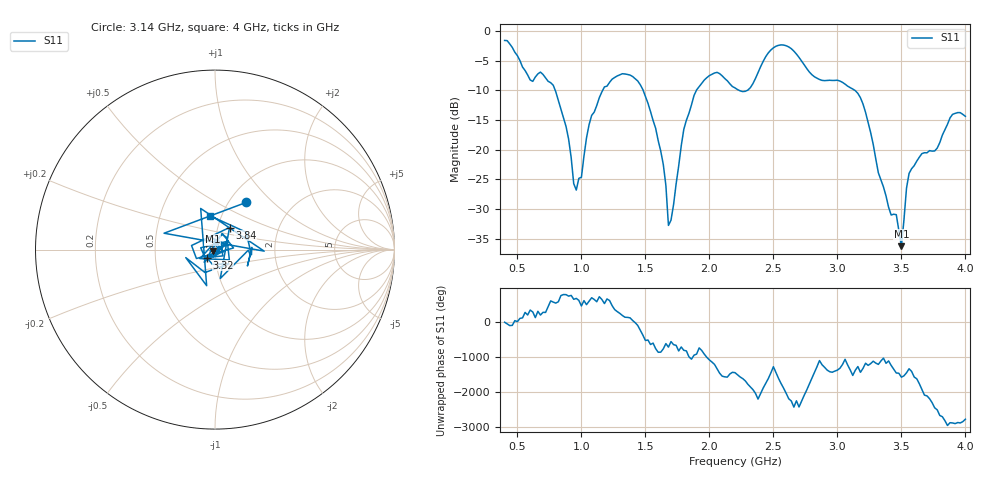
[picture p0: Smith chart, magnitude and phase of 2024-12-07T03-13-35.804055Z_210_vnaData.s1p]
!Created with skrf (http://scikit-rf.org).
# Hz S RI R 50.0
!freq ReS11 ImS11
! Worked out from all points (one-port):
!   181 points, 400 MHz to 4 GHz, reference 50 ohm
!   lowest |S11| = -36.2 dB at 3.5 GHz (marker M1), VSWR 1.03, Z = 48.8 - j0.942 ohm
!   |S11| at or under -10 dB: 795.5 MHz to 1.166 GHz (370.6 MHz wide, 37.8 % of centre); 1.482 GHz to 1.898 GHz (415.9 MHz wide, 24.6 % of centre); 3.136 GHz to end of sweep (the widest 3 of 4)
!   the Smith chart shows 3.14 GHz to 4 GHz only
!   S11 on the Smith chart (normalised r, x): 3.14 GHz: 1.20, +0.70; 3.32 GHz: 0.91, -0.08; 3.84 GHz: 1.14, +0.29; 4 GHz: 0.88, +0.35
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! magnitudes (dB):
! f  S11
! 400 MHz  -1.6
! 600 MHz  -8.3
! 780 MHz  -9.1
! 860 MHz  -14.6
! 960 MHz  -26.8
! 1.08 GHz  -14.2
! 1.3 GHz  -7.4
! 1.52 GHz  -12.2
! 1.64 GHz  -22.5
! 1.68 GHz  -32.7
! 1.76 GHz  -22.7
! 1.8 GHz  -16.6
! 1.9 GHz  -9.9
! 2.06 GHz  -7.0
! 2.2 GHz  -9.6
! 2.32 GHz  -9.5
! 2.5 GHz  -2.8
! 2.66 GHz  -3.4
! 3.1 GHz  -9.5
! 3.14 GHz  -10.0
! 3.22 GHz  -13.7
! 3.32 GHz  -23.9
! 3.42 GHz  -31.0
! 3.46 GHz  -30.9
! 3.5 GHz  -36.2
! 3.56 GHz  -24.0
! 3.84 GHz  -16.6
! 4 GHz  -14.4
